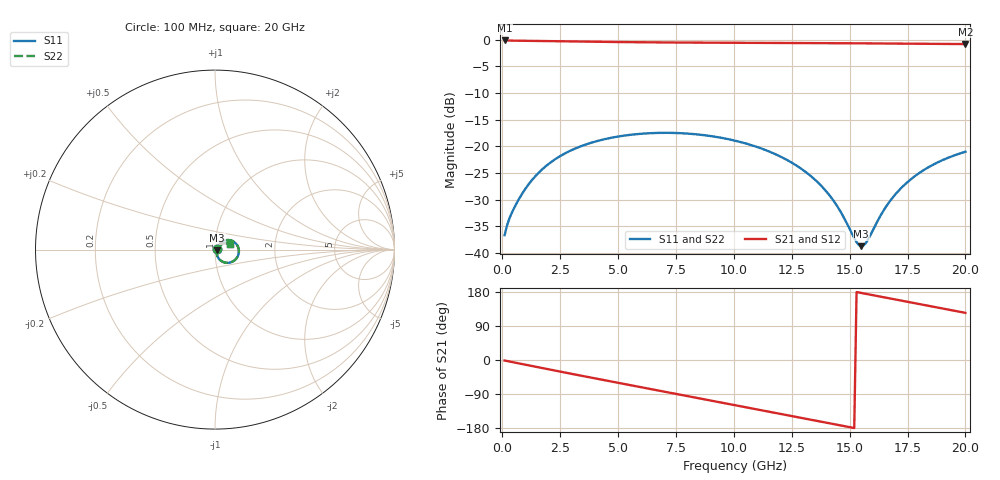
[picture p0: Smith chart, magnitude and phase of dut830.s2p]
! Touchstone file exported from HFSS 2026.1.0
!  File:  C:/ffzhzh/LocalFiles/Ansys_Project_Files/temp_train_TSV_RDL_830_1783266546_38820.aedt
!  Generated:  11:57:26 PM Jul  5, 2026
!  Design:  TSV_RDL
!  Project:  temp_train_TSV_RDL_830_1783266546_38820
! Variables:
!  h_bsmrdl = 4.42um
!  h_ox = 20um
!  h_rdl = 5um
!  h_sub = 72.47um
!  h_tmrdl = 5.63um
!  h_tsv = 72.47um
!  h_via = 3um
!  l_bsmrdl = 110.75um
!  l_sub = 4102.72um
!  l_tmrdl = 812.7um
!  m_sub = 200um
!  pitch = 29.5um
!  r_tsv = 6.32um
!  s_tmrdl = 10um
!  w_bsmrdl = 17.33um
!  w_sub = 500um
!  w_tmrdl = 22.56um
!  x_tsv_center1 = 823.98um
!  x_tsv_center2 = 952.06um
!  x_tsv_center3 = 1787.32um
!  x_tsv_center4 = 1915.4um
!  x_tsv_center5 = 2750.66um
!  x_tsv_center6 = 2878.74um
# GHz S MA R 50.000000
! Terminal data exported
! Port[1] = TM_RDL1_1_T1
! Port[2] = TM_RDL5_1_T1
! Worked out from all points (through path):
!   200 points, 100 MHz to 20 GHz, reference 50 ohm
!   highest |S21| = -0.12 dB at 100 MHz (marker M1); lowest = -0.8 dB at 20 GHz (marker M2)
!   group delay of S21, straight-line fit = 32.6 ps
!   lowest |S11| = -38.8 dB at 15.5 GHz (marker M3), VSWR 1.02, Z = 51.1 - j0.324 ohm
!   |S11| at or under -10 dB: start of sweep to end of sweep
!   |S22| runs from -38.8 to -17.5 dB; largest |S21 - S12| = 7.9e-14
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0.1  0.01461 20.9  0.9865 -1.4  0.9865 -1.4  0.01461 20.9
! Gamma 0 0 0 0
! Port Impedance 50 0 50 0
0.3  0.0208 34.6  0.9836 -3.9  0.9836 -3.9  0.0208 34.6
0.6  0.02867 43.5  0.9816 -7.5  0.9816 -7.5  0.02867 43.5
1.4  0.05157 48.3  0.9773 -17.3  0.9773 -17.3  0.05157 48.3
2.3  0.076 42.1  0.9711 -28.2  0.9711 -28.2  0.076 42.2
3.5  0.102 30.1  0.9623 -42.5  0.9623 -42.5  0.102 30.1
5.2  0.1254 12.0  0.9521 -62.5  0.9521 -62.5  0.1253 12.0
6.8  0.1337 -5.0  0.9455 -81.2  0.9455 -81.2  0.1336 -5.0
8.4  0.1294 -21.8  0.9411 -99.8  0.9411 -99.8  0.1294 -21.8
10.1  0.1123 -39.4  0.938 -119.7  0.938 -119.7  0.1122 -39.3
11.9  0.08225 -56.8  0.9351 -140.8  0.9351 -140.8  0.0822 -56.8
13.4  0.05086 -68.3  0.9323 -158.4  0.9323 -158.4  0.05081 -68.2
14.3  0.03092 -69.4  0.9302 -169.0  0.9302 -169.0  0.03087 -69.4
14.7  0.02243 -64.8  0.9292 -173.7  0.9292 -173.7  0.02237 -64.8
15.3  0.01257 -35.8  0.9275 179.3  0.9275 179.3  0.01249 -35.7
15.5  0.01153 -15.9  0.9269 176.9  0.9269 176.9  0.01145 -15.7
15.7  0.01233 4.3  0.9263 174.6  0.9263 174.6  0.01227 4.6
16.7  0.02968 39.6  0.9232 162.9  0.9232 162.9  0.02966 39.9
17.3  0.04203 40.0  0.9212 155.9  0.9212 155.9  0.04202 40.2
18.1  0.05786 35.7  0.9184 146.5  0.9184 146.5  0.05784 36.0
19  0.07391 28.5  0.9154 136.0  0.9154 136.0  0.07388 28.8
20  0.08887 19.3  0.9122 124.4  0.9122 124.4  0.08884 19.6
